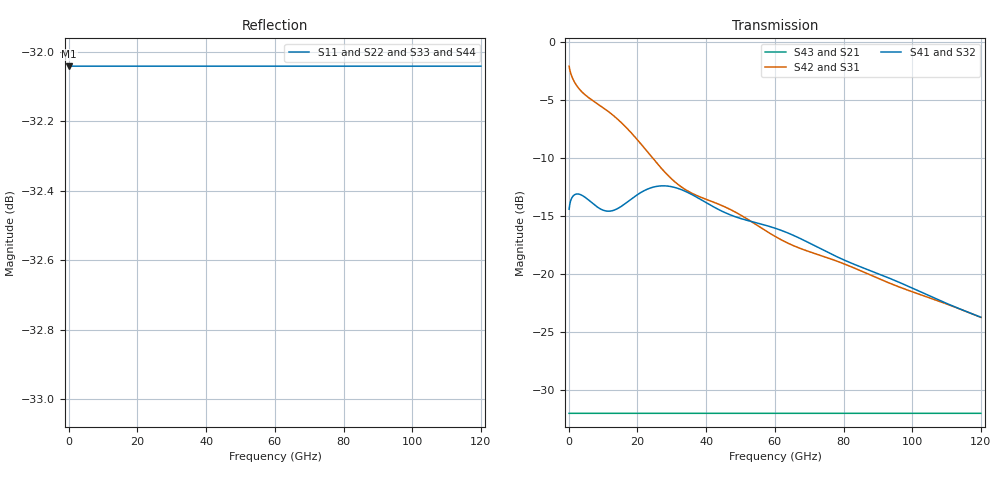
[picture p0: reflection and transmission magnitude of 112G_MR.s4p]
! Created with skrf 1.12.0 (http://scikit-rf.org).
# Hz S RI R 50.0
!freq ReS11 ImS11 ReS12 ImS12 ReS13 ImS13
! ReS14 ImS14
! ReS21 ImS21 ReS22 ImS22 ReS23 ImS23
! ReS24 ImS24
! ReS31 ImS31 ReS32 ImS32 ReS33 ImS33
! ReS34 ImS34
! ReS41 ImS41 ReS42 ImS42 ReS43 ImS43
! ReS44 ImS44
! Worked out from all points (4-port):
!   1200 points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, 100 MHz to 120 GHz, reference 50 ohm
!   strongest paths, dB at 100 MHz, 30.1 GHz, 60.1 GHz, 90.1 GHz, 120 GHz:
!     S41: -14.4, -12.5, -16.1, -20.0, -23.8
!     S32: -14.4, -12.5, -16.1, -20.0, -23.8
!     S42: -2.1, -11.9, -16.8, -20.4, -23.8
!     S31: -2.1, -11.9, -16.8, -20.4, -23.8
!     S43: -32.0, -32.0, -32.0, -32.0, -32.0
!     S21: -32.0, -32.0, -32.0, -32.0, -32.0
!   lowest |S11| = -32.0 dB at 100 MHz (marker M1), VSWR 1.05, Z = 52.6 + j0 ohm
!   |S11| at or under -10 dB: start of sweep to end of sweep
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1e8  0.025 0  -0.025 0  0.7791 -0.0992  0.1894 -0.00879
     -0.025 0  0.025 0  0.1894 -0.00879  0.7791 -0.0992
     0.7791 -0.0992  0.1894 -0.00879  0.025 0  -0.025 0
     0.1894 -0.00879  0.7791 -0.0992  -0.025 0  0.025 0
3.3e9  0.025 0  -0.025 0  -0.6177 -0.0536  -0.2191 -0.0148
       -0.025 0  0.025 0  -0.2191 -0.0148  -0.6177 -0.0536
       -0.6177 -0.0536  -0.2191 -0.0148  0.025 0  -0.025 0
       -0.2191 -0.0148  -0.6177 -0.0536  -0.025 0  0.025 0
6.8e9  0.025 0  -0.025 0  0.56 0.0232  0.2019 0.004
       -0.025 0  0.025 0  0.2019 0.004  0.56 0.0232
       0.56 0.0232  0.2019 0.004  0.025 0  -0.025 0
       0.2019 0.004  0.56 0.0232  -0.025 0  0.025 0
1.02e10  0.025 0  -0.025 0  -0.5169 -0.0269  -0.1847 -0.0321
         -0.025 0  0.025 0  -0.1847 -0.0321  -0.5169 -0.0269
         -0.5169 -0.0269  -0.1847 -0.0321  0.025 0  -0.025 0
         -0.1847 -0.0321  -0.5169 -0.0269  -0.025 0  0.025 0
1.36e10  0.025 0  -0.025 0  0.4723 0.0201  0.1771 0.066
         -0.025 0  0.025 0  0.1771 0.066  0.4723 0.0201
         0.4723 0.0201  0.1771 0.066  0.025 0  -0.025 0
         0.1771 0.066  0.4723 0.0201  -0.025 0  0.025 0
1.7e10  0.025 0  -0.025 0  -0.423 -0.0129  -0.1794 -0.0962
        -0.025 0  0.025 0  -0.1794 -0.0962  -0.423 -0.0129
        -0.423 -0.0129  -0.1794 -0.0962  0.025 0  -0.025 0
        -0.1794 -0.0962  -0.423 -0.0129  -0.025 0  0.025 0
1.2e11  0.025 0  -0.025 0  -0.062 -0.0188  -0.0623 -0.0182
        -0.025 0  0.025 0  -0.0623 -0.0182  -0.062 -0.0188
        -0.062 -0.0188  -0.0623 -0.0182  0.025 0  -0.025 0
        -0.0623 -0.0182  -0.062 -0.0188  -0.025 0  0.025 0
